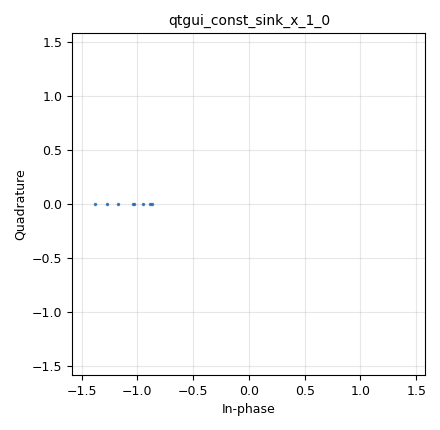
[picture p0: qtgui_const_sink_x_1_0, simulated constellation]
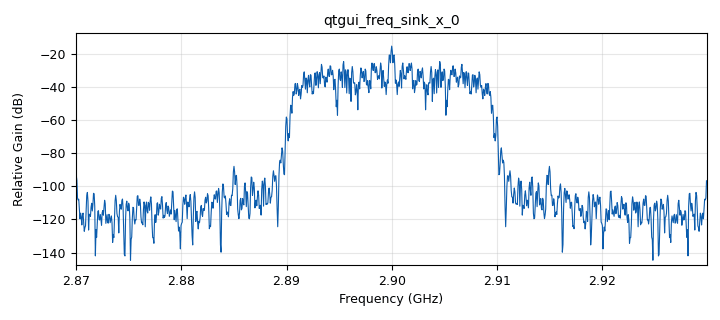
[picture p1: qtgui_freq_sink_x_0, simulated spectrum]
options:
  parameters:
    author: yabool2001
    copyright: mzemlo.pl@gmail.com
    description: BPSK test 02 2
    generate_options: qt_gui
    id: BPSK_test_02_2
    output_language: python
    title: BPSK test 02 2
  states: {}

blocks:
- name: access_key
  id: variable
  parameters:
    value: '''11100001010110101110100010010011'''
  states: {}
- name: bw
  id: variable
  parameters:
    value: '20000000'
  states: {}
- name: f_o
  id: variable
  parameters:
    value: '2900000000'
  states: {}
- name: header_format
  id: variable
  parameters:
    value: digital.header_format_default(access_key, 0)
  states: {}
- name: ip
  id: variable
  parameters:
    value: '"ip:192.168.2.1"'
  states: {}
- name: nfilts
  id: variable
  parameters:
    value: '32'
  states: {}
- name: samp_rate
  id: variable
  parameters:
    value: int(bw*3)
  states: {}
- name: sps
  id: variable
  parameters:
    value: '4'
  states: {}
- name: usb
  id: variable
  parameters:
    value: '"usb:"'
  states: {}
- name: variable_constellation_1
  id: variable_constellation
  parameters:
    const_points: '[1, -1]'
    precision: '8'
    sym_map: '[0,1]'
    type: bpsk
  states: {}
- name: blocks_file_sink_0_0_0
  id: blocks_file_sink
  parameters:
    file: output_text.txt
    type: byte
  states: {state: disabled}
- name: blocks_file_sink_0_0_0_0
  id: blocks_file_sink
  parameters:
    file: C:\Users\mzeml\gnuradio\udemy Moazzam\tagged_stream.txt
    type: byte
  states: {state: disabled}
- name: blocks_message_strobe_1
  id: blocks_message_strobe
  parameters:
    comment: |-
      HEX: 0x11
      BIN: 0b00010001
      DEC: 17
    msg: pmt.cons ( pmt.PMT_NIL , pmt.init_u8vector ( 1 , 0x01 ) )
    period: '1000'
  states: {}
- name: blocks_repack_bits_bb_0_0_0
  id: blocks_repack_bits_bb
  parameters:
    comment: Tagged Stream to PDU block up ahead needs packed bytes
    endianness: gr.GR_MSB_FIRST
    k: '1'
    l: '8'
    len_tag_key: '"packet_len"'
  states: {state: disabled}
- name: blocks_tagged_stream_mux_0
  id: blocks_tagged_stream_mux
  parameters:
    comment: Append header to payload
    lengthtagname: '"packet_len"'
    ninputs: '2'
    type: byte
  states: {}
- name: digital_constellation_decoder_cb_1_0
  id: digital_constellation_decoder_cb
  parameters:
    constellation: variable_constellation_1
  states: {state: disabled}
- name: digital_constellation_modulator_0_0
  id: digital_constellation_modulator
  parameters:
    constellation: variable_constellation_1
    differential: 'False'
    excess_bw: '0.35'
    log: 'True'
    samples_per_symbol: '4'
    verbose: 'True'
  states: {}
- name: digital_correlate_access_code_xx_ts_1
  id: digital_correlate_access_code_xx_ts
  parameters:
    access_code: access_key
    comment: Correlates with access code to extract the payload.
    tagname: '"packet_len"'
    threshold: '0'
    type: byte
  states: {state: disabled}
- name: digital_pfb_clock_sync_xxx_0
  id: digital_pfb_clock_sync_xxx
  parameters:
    filter_size: '32'
    init_phase: '16'
    loop_bw: '0.0628'
    max_dev: '1.5'
    osps: '1'
    sps: '4'
    taps: firdes.root_raised_cosine(nfilts, nfilts, 1.0/float(sps), 0.35, 11*sps*nfilts)
    type: ccf
  states: {state: disabled}
- name: digital_protocol_formatter_async_0
  id: digital_protocol_formatter_async
  parameters:
    format: header_format
  states: {}
- name: iio_pluto_sink_0
  id: iio_pluto_sink
  parameters:
    attenuation1: '10'
    bandwidth: bw
    buffer_size: int(samp_rate/24)
    cyclic: 'False'
    filter_source: '''Auto'''
    frequency: f_o
    samplerate: samp_rate
    type: fc32
    uri: ip
  states: {}
- name: iio_pluto_source_0
  id: iio_pluto_source
  parameters:
    bandwidth: bw
    bbdc: 'True'
    buffer_size: '32768'
    filter_source: '''Auto'''
    frequency: f_o
    gain1: '''fast_attack'''
    quadrature: 'True'
    rfdc: 'True'
    samplerate: samp_rate
    type: fc32
    uri: pluto_context
  states: {state: disabled}
- name: pdu_pdu_to_tagged_stream_0
  id: pdu_pdu_to_tagged_stream
  parameters:
    tag: packet_len
    type: byte
  states: {}
- name: pdu_pdu_to_tagged_stream_0_0
  id: pdu_pdu_to_tagged_stream
  parameters:
    tag: packet_len
    type: byte
  states: {}
- name: qtgui_const_sink_x_0
  id: qtgui_const_sink_x
  parameters:
    autoscale: 'True'
    size: '1024'
    type: complex
  states: {state: disabled}
- name: qtgui_const_sink_x_1
  id: qtgui_const_sink_x
  parameters:
    autoscale: 'True'
    size: '20'
    type: complex
  states: {state: disabled}
- name: qtgui_const_sink_x_1_0
  id: qtgui_const_sink_x
  parameters:
    autoscale: 'True'
    size: '8'
    type: complex
  states: {}
- name: qtgui_freq_sink_x_0
  id: qtgui_freq_sink_x
  parameters:
    autoscale: 'True'
    bw: samp_rate
    fc: f_o
    fftsize: '1024'
    type: complex
  states: {}

connections:
- [blocks_message_strobe_1, strobe, digital_protocol_formatter_async_0, in]
- [blocks_repack_bits_bb_0_0_0, '0', blocks_file_sink_0_0_0, '0']
- [blocks_tagged_stream_mux_0, '0', digital_constellation_modulator_0_0, '0']
- [digital_constellation_decoder_cb_1_0, '0', blocks_file_sink_0_0_0_0, '0']
- [digital_constellation_decoder_cb_1_0, '0', digital_correlate_access_code_xx_ts_1, '0']
- [digital_constellation_modulator_0_0, '0', iio_pluto_sink_0, '0']
- [digital_constellation_modulator_0_0, '0', qtgui_const_sink_x_1_0, '0']
- [digital_constellation_modulator_0_0, '0', qtgui_freq_sink_x_0, '0']
- [digital_correlate_access_code_xx_ts_1, '0', blocks_repack_bits_bb_0_0_0, '0']
- [digital_pfb_clock_sync_xxx_0, '0', digital_constellation_decoder_cb_1_0, '0']
- [digital_pfb_clock_sync_xxx_0, '0', qtgui_const_sink_x_0, '0']
- [digital_pfb_clock_sync_xxx_0, '0', qtgui_const_sink_x_1, '0']
- [digital_protocol_formatter_async_0, header, pdu_pdu_to_tagged_stream_0, pdus]
- [digital_protocol_formatter_async_0, payload, pdu_pdu_to_tagged_stream_0_0, pdus]
- [iio_pluto_source_0, '0', digital_pfb_clock_sync_xxx_0, '0']
- [pdu_pdu_to_tagged_stream_0, '0', blocks_tagged_stream_mux_0, '0']
- [pdu_pdu_to_tagged_stream_0_0, '0', blocks_tagged_stream_mux_0, '1']

metadata:
  file_format: 1
  grc_version: 3.10.12.0
